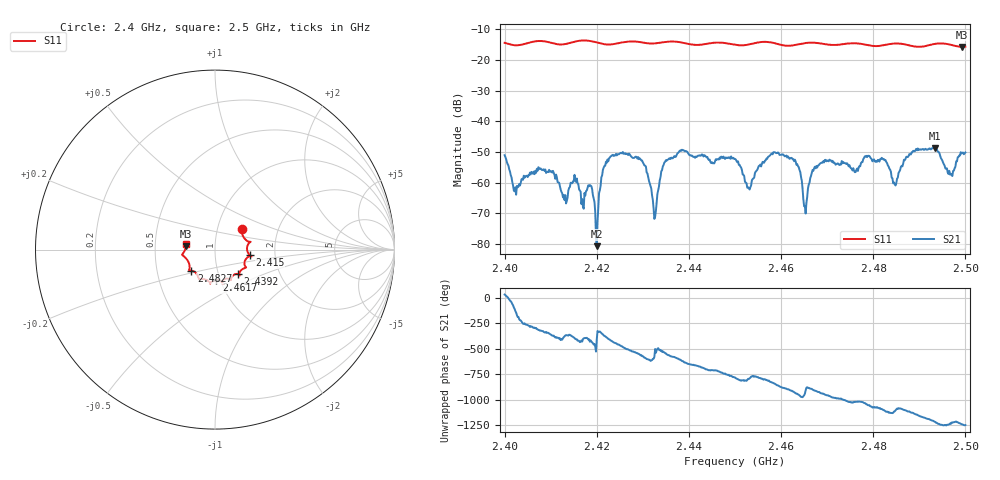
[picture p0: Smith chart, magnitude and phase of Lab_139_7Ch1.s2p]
# Hz S RI R
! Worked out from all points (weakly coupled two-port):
!   601 points, 2.4 GHz to 2.5 GHz, reference 50 ohm
!   highest |S21| = -48.74 dB at 2.4933 GHz (marker M1); lowest = -80.8 dB at 2.42 GHz (marker M2)
!   lowest |S11| = -15.8 dB at 2.4993 GHz (marker M3), VSWR 1.39, Z = 36 + j1.37 ohm
!   |S11| at or under -10 dB: start of sweep to end of sweep
!   S12 and S22 are empty: the file has one direction only
!   S11 on the Smith chart (normalised r, x): 2.4 GHz: 1.31, +0.31; 2.415 GHz: 1.48, -0.10; 2.4392 GHz: 1.24, -0.35; 2.4617 GHz: 0.96, -0.34; 2.4827 GHz: 0.75, -0.18; 2.5 GHz: 0.72, +0.05
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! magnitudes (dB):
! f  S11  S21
! 2.4 GHz  -14.4  -51.1
! 2.4023 GHz  -15.2  -61.6
! 2.415 GHz  -14.1  -59.7
! 2.4167 GHz  -13.7  -67.0
! 2.4185 GHz  -13.8  -60.8
! 2.42 GHz  -14.3  -80.8
! 2.4215 GHz  -14.9  -55.1
! 2.4237 GHz  -14.8  -51.3
! 2.4325 GHz  -14.6  -71.9
! 2.4333 GHz  -14.5  -62.5
! 2.4392 GHz  -14.6  -49.8
! 2.45 GHz  -15.1  -52.3
! 2.453 GHz  -15.0  -61.8
! 2.4617 GHz  -15.4  -51.9
! 2.4652 GHz  -14.5  -67.7
! 2.4667 GHz  -14.4  -56.9
! 2.4827 GHz  -15.1  -52.7
! 2.4833 GHz  -14.9  -54.8
! 2.4933 GHz  -14.8  -48.7
! 2.4967 GHz  -15.0  -57.4
! 2.4993 GHz  -15.8  -50.3
! 2.5 GHz  -15.7  -50.2
